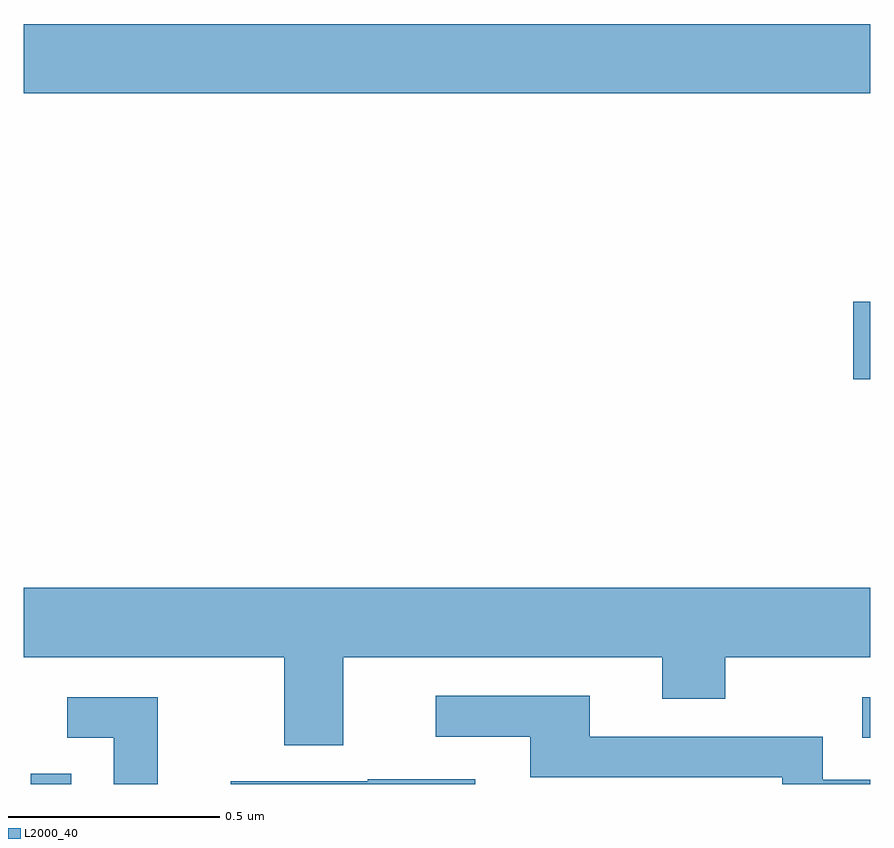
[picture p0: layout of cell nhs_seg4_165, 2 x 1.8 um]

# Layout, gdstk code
import gdstk
lib = gdstk.Library(unit=1e-6, precision=1e-09)
def R(c, l, rs):  # rectangles x0, y0, x1, y1
    for r in rs: c.add(gdstk.rectangle(r[:2], r[2:], *l))
def P(c, l, *ps):  # polygons
    for p in ps: c.add(gdstk.Polygon(p, *l))
L2000_40 = (2000, 40)

nhs_seg4_165 = lib.new_cell('nhs_seg4_165')
R(nhs_seg4_165, L2000_40, [(113.016,749.9,113.112,749.924), (114.981,750.009,115,750.105), (114.96,750.857,115,751.04), (113,751.532,115,751.696)])
P(nhs_seg4_165, L2000_40, [(113.755,750.2),(114.509,750.2),(114.509,750.101),(114.657,750.101),(114.657,750.2),(115,750.2),(115,750.364),(113,750.364),(113,750.2),(113.615,750.2),(113.615,749.992),(113.755,749.992)],
  [(115,749.91),(114.888,749.91),(114.888,750.012),(114.337,750.012),(114.337,750.108),(113.973,750.108),(113.973,750.012),(114.197,750.012),(114.197,749.916),(114.792,749.916),(114.792,749.9),(115,749.9)],
  [(113.317,750.105),(113.103,750.105),(113.103,750.009),(113.213,750.009),(113.213,749.9),(113.317,749.9)],
  [(114.067,749.911),(113.813,749.911),(113.813,749.907),(113.489,749.907),(113.489,749.9),(114.067,749.9)])

lib.write_gds('nhs_seg4_165.gds')
